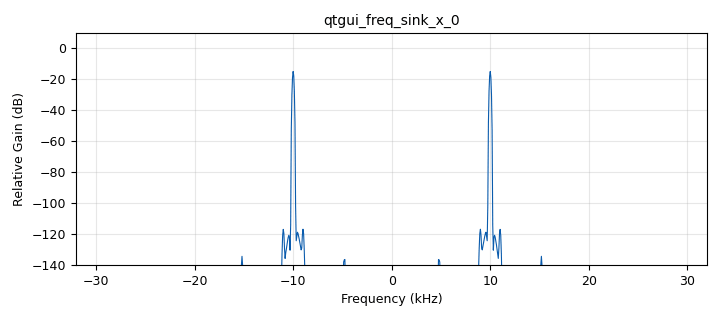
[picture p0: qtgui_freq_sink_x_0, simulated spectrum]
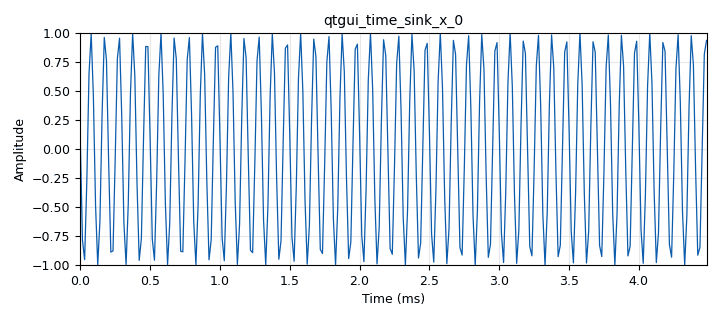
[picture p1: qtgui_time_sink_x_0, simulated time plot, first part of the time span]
options:
  parameters:
    generate_options: qt_gui
    id: mof_fm
    output_language: python
    title: Modulador FM
  states: {}

blocks:
- name: fc
  id: variable
  parameters:
    value: 10e3
  states: {}
- name: fm
  id: variable_qtgui_range
  parameters:
    outputmsgname: value
    showports: 'False'
    start: 1e3
    step: '200'
    stop: 5e3
    value: 1e3
  states: {}
- name: kf
  id: variable_qtgui_range
  parameters:
    outputmsgname: value
    showports: 'False'
    start: '100'
    step: '10'
    stop: '1000'
    value: '100'
  states: {}
- name: samp_rate
  id: variable
  parameters:
    value: 64e3
  states: {}
- name: analog_sig_source_x_0
  id: analog_sig_source_x
  parameters:
    amp: '1'
    freq: fm
    offset: '0'
    phase: '0'
    samp_rate: samp_rate
    type: float
    waveform: analog.GR_SIN_WAVE
  states: {}
- name: blocks_add_const_vxx_0
  id: blocks_add_const_vxx
  parameters:
    const: fc
    type: float
  states: {}
- name: blocks_multiply_const_vxx_0
  id: blocks_multiply_const_vxx
  parameters:
    const: kf/(fm*(2*3.14))
    type: float
  states: {}
- name: blocks_throttle_0
  id: blocks_throttle
  parameters:
    samples_per_second: samp_rate
    type: float
  states: {}
- name: blocks_vco_f_0
  id: blocks_vco_f
  parameters:
    amplitude: '1'
    samp_rate: samp_rate
    sensitivity: 2*3.14
  states: {}
- name: qtgui_freq_sink_x_0
  id: qtgui_freq_sink_x
  parameters:
    bw: samp_rate
    fc: '0'
    fftsize: '1024'
    type: float
  states: {}
- name: qtgui_time_sink_x_0
  id: qtgui_time_sink_x
  parameters:
    size: '1024'
    srate: samp_rate
    type: float
  states: {}

connections:
- [analog_sig_source_x_0, '0', blocks_throttle_0, '0']
- [blocks_add_const_vxx_0, '0', blocks_vco_f_0, '0']
- [blocks_multiply_const_vxx_0, '0', blocks_add_const_vxx_0, '0']
- [blocks_throttle_0, '0', blocks_multiply_const_vxx_0, '0']
- [blocks_vco_f_0, '0', qtgui_freq_sink_x_0, '0']
- [blocks_vco_f_0, '0', qtgui_time_sink_x_0, '0']

metadata:
  file_format: 1
  grc_version: 3.10.4.0
